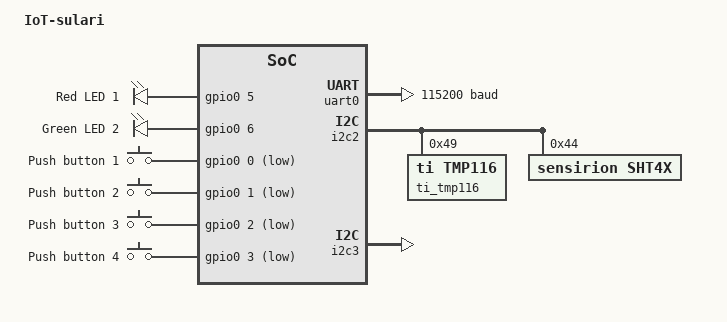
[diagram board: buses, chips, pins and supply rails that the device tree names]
// Copyright (c) 2023 Nordic Semiconductor ASA
// SPDX-License-Identifier: Apache-2.0

 #include "iot_sulari_common-pinctrl.dtsi"

/ {
    model = "IoT-sulari";
    compatible = "vjr-oy,iot-sulari";

    chosen {
        zephyr,console = &uart0;
        zephyr,shell-uart = &uart0;
        zephyr,uart-mcumgr = &uart0;
        // zephyr,display = &oled;  Defined by SHIELD 
    };

    leds {
        compatible = "gpio-leds";
        led0: led_0 {
            gpios = <&gpio0 5 0>;
            label = "Red LED 1";
        };
        led1: led_1 {
            gpios = <&gpio0 6 0>;
            label = "Green LED 2";
        };
    };

    buttons {
        compatible = "gpio-keys";
        button0: button_0 {
            gpios = <&gpio0 0 (GPIO_PULL_UP | GPIO_ACTIVE_LOW)>;
            label = "Push button 1";
        };
        button1: button_1 {
            gpios = <&gpio0 1 (GPIO_PULL_UP | GPIO_ACTIVE_LOW)>;
            label = "Push button 2";
        };
        button2: button_2 {
            gpios = <&gpio0 2 (GPIO_PULL_UP | GPIO_ACTIVE_LOW)>;
            label = "Push button 3";
        };
        button3: button_3 {
            gpios = <&gpio0 3 (GPIO_PULL_UP | GPIO_ACTIVE_LOW)>;
            label = "Push button 4";
        };
    };

    /* These aliases are provided for compatibility with samples */
    aliases {
        led0 = &led0;
        led1 = &led1;
        sw0 = &button0;
        sw1 = &button1;
        sw2 = &button2;
        sw3 = &button3;
        bootloader-led0 = &led0;
        mcuboot-button0 = &button0;
        mcuboot-led0 = &led0;
    };
};

&gpio0 {
    status = "okay";
};

&uart0 {
    status = "okay";
    current-speed = <115200>;
    pinctrl-0 = <&uart0_default>;
    pinctrl-1 = <&uart0_sleep>;
    pinctrl-names = "default", "sleep";
};

&i2c2 {
    compatible = "nordic,nrf-twim";
    status = "okay";
    pinctrl-0 = <&i2c2_default>;
    pinctrl-1 = <&i2c2_sleep>;
    pinctrl-names = "default", "sleep";

    ti_tmp116: ti_tmp116@49 {
        compatible = "ti,tmp116";
        reg = <0x49>;
        #address-cells = <1>;
        #size-cells = <0>;

        eeprom: ti_tmp116_eeprom@0{
            compatible = "ti,tmp116-eeprom";
            reg = <0x0>;
            read-only;
        };
    };

    sht4x@44 {
        status= "okay";
        compatible = "sensirion,sht4x";
        reg = <0x44>;
        repeatability = <2>;
    };
};

&uart1 {
    status = "disabled";
    current-speed = <115200>;
    pinctrl-0 = <&uart1_default>;
    pinctrl-1 = <&uart1_sleep>;
    pinctrl-names = "default", "sleep";
};

arduino_i2c: &i2c3 {
    compatible = "nordic,nrf-twim";
    status = "okay";
    pinctrl-0 = <&i2c3_default>;
    pinctrl-1 = <&i2c3_sleep>;
    pinctrl-names = "default", "sleep";
};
